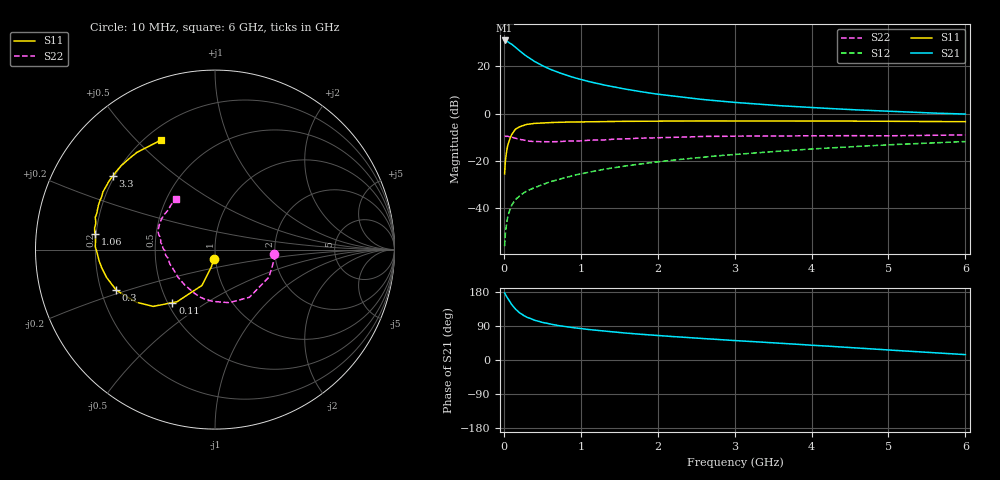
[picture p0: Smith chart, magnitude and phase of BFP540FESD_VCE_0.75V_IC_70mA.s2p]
! Infineon Technologies  Discrete & RF Semiconductors
! BFP540FESD
! VCE = 0.75 V,  IC =  70 mA
! Common Emitter S-Parameters:  Nov 2015
# GHz  S  MA  R  50
!  f  S11  S21  S12  S22
! GHz  MAG  ANG  MAG  ANG  MAG  ANG  MAG  ANG
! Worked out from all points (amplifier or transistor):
!   210 points, 10 MHz to 6 GHz, reference 50 ohm
!   highest |S21| = 30.9 dB at 10 MHz (marker M1)
!   |S21| within 3 dB of that: start of sweep to 155.6 MHz
!   unconditionally stable (mu >= 1): start of sweep to 184.1 MHz; 352.9 MHz to end of sweep
!   at 185 MHz: K = 1.00, MSG = 31.2 dB, |S12| = -35.3 dB
!   at 1.52 GHz: K = 1.22, MAG = 13.7 dB, |S12| = -22.3 dB
!   at 6 GHz: K = 1.27, MAG = 2.7 dB, |S12| = -11.7 dB
!   S11 on the Smith chart (normalised r, x): 10 MHz: 0.98, -0.11; 110 MHz: 0.53, -0.37; 300 MHz: 0.26, -0.18; 1.06 GHz: 0.20, +0.06; 3.3 GHz: 0.19, +0.31; 6 GHz: 0.26, +0.59
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0.01  0.0539 -96.7  35.09 176.9  0.0016 80.6  0.3304 -4.6
0.02  0.0998 -102.1  33.76 173.1  0.0029 76.8  0.336 -8.2
0.05  0.2125 -110.0  33.12 162.6  0.0065 71.6  0.3373 -27.1
0.1  0.3588 -126.0  29.39 146.6  0.0115 69.3  0.3276 -54.2
0.11  0.3792 -128.8  28.48 144.4  0.0122 67.9  0.32 -58.1
0.15  0.4677 -137.4  25.29 134.4  0.0153 63.5  0.3059 -75.1
0.2  0.525 -145.9  21.55 125.2  0.018 62.7  0.2891 -92.3
0.26  0.5694 -153.9  18.02 117.2  0.0214 60.4  0.2773 -107.4
0.3  0.5955 -157.9  16.12 112.8  0.0234 60.5  0.2687 -115.2
0.4  0.6235 -165.6  12.63 104.8  0.0275 59.9  0.2593 -131.0
0.5  0.6393 -170.9  10.32 99.2  0.0316 61.8  0.2574 -142.6
0.6  0.6492 -174.7  8.688 94.9  0.0365 62.6  0.2557 -150.5
0.7  0.6574 -178.6  7.52 91.1  0.0403 63.3  0.2572 -156.4
1.02  0.6714 173.3  5.167 82.4  0.0546 63.2  0.2684 -170.6
1.06  0.6742 172.6  4.975 81.5  0.0563 63.3  0.272 -171.8
1.5  0.6909 165.0  3.477 72.6  0.0756 61.9  0.2915 177.4
2.02  0.6972 157.1  2.554 64.2  0.0971 59.0  0.3116 169.1
3.1  0.7023 146.1  1.684 50.2  0.1416 51.9  0.3363 159.6
3.3  0.7015 144.0  1.592 47.8  0.1498 50.3  0.3377 157.9
4.1  0.7 137.4  1.321 37.9  0.1838 44.0  0.3428 150.0
5.1  0.6917 127.5  1.109 25.2  0.2239 34.4  0.343 138.5
6  0.6803 116.5  0.982 14.2  0.2586 25.5  0.3563 127.9
